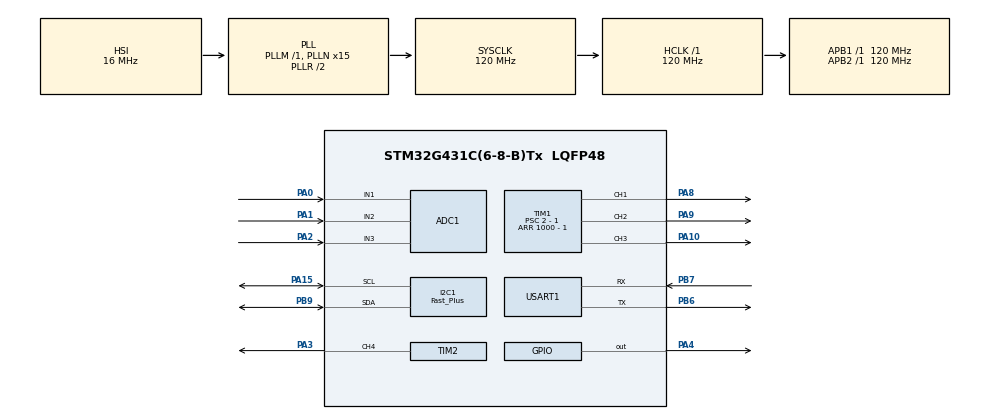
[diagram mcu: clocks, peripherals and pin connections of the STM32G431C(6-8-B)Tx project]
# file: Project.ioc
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ADC1.Channel-0\#ChannelRegularConversion=ADC_CHANNEL_1
ADC1.Channel-1\#ChannelRegularConversion=ADC_CHANNEL_2
ADC1.Channel-2\#ChannelRegularConversion=ADC_CHANNEL_3
ADC1.ClockPrescaler=ADC_CLOCK_SYNC_PCLK_DIV2
ADC1.DMAContinuousRequests=ENABLE
ADC1.EOCSelection=ADC_EOC_SINGLE_CONV
ADC1.ExternalTrigConv=ADC_EXTERNALTRIG_T1_TRGO
ADC1.NbrOfConversion=3
ADC1.NbrOfConversionFlag=1
ADC1.OffsetNumber-0\#ChannelRegularConversion=ADC_OFFSET_NONE
ADC1.OffsetNumber-1\#ChannelRegularConversion=ADC_OFFSET_NONE
ADC1.OffsetNumber-2\#ChannelRegularConversion=ADC_OFFSET_NONE
ADC1.Rank-0\#ChannelRegularConversion=1
ADC1.Rank-1\#ChannelRegularConversion=2
ADC1.Rank-2\#ChannelRegularConversion=3
ADC1.SamplingTime-0\#ChannelRegularConversion=ADC_SAMPLETIME_2CYCLES_5
ADC1.SamplingTime-1\#ChannelRegularConversion=ADC_SAMPLETIME_2CYCLES_5
ADC1.SamplingTime-2\#ChannelRegularConversion=ADC_SAMPLETIME_2CYCLES_5
ADC1.master=1
Dma.ADC1.1.Direction=DMA_PERIPH_TO_MEMORY
Dma.ADC1.1.EventEnable=DISABLE
Dma.ADC1.1.Instance=DMA1_Channel2
Dma.ADC1.1.MemDataAlignment=DMA_MDATAALIGN_WORD
Dma.ADC1.1.MemInc=DMA_MINC_ENABLE
Dma.ADC1.1.Mode=DMA_CIRCULAR
Dma.ADC1.1.PeriphDataAlignment=DMA_PDATAALIGN_WORD
Dma.ADC1.1.PeriphInc=DMA_PINC_DISABLE
Dma.ADC1.1.Polarity=HAL_DMAMUX_REQ_GEN_RISING
Dma.ADC1.1.Priority=DMA_PRIORITY_HIGH
Dma.ADC1.1.RequestNumber=1
Dma.ADC1.1.SignalID=NONE
Dma.ADC1.1.SyncEnable=DISABLE
Dma.ADC1.1.SyncPolarity=HAL_DMAMUX_SYNC_NO_EVENT
Dma.ADC1.1.SyncRequestNumber=1
Dma.ADC1.1.SyncSignalID=NONE
Dma.Request0=USART1_RX
Dma.Request1=ADC1
Dma.USART1_RX.0.Direction=DMA_PERIPH_TO_MEMORY
Dma.USART1_RX.0.EventEnable=DISABLE
Dma.USART1_RX.0.Instance=DMA1_Channel1
Dma.USART1_RX.0.MemDataAlignment=DMA_MDATAALIGN_BYTE
Dma.USART1_RX.0.MemInc=DMA_MINC_ENABLE
Dma.USART1_RX.0.Mode=DMA_CIRCULAR
Dma.USART1_RX.0.PeriphDataAlignment=DMA_PDATAALIGN_BYTE
Dma.USART1_RX.0.PeriphInc=DMA_PINC_DISABLE
Dma.USART1_RX.0.Polarity=HAL_DMAMUX_REQ_GEN_RISING
Dma.USART1_RX.0.Priority=DMA_PRIORITY_MEDIUM
Dma.USART1_RX.0.RequestNumber=1
Dma.USART1_RX.0.SignalID=NONE
Dma.USART1_RX.0.SyncEnable=DISABLE
Dma.USART1_RX.0.SyncPolarity=HAL_DMAMUX_SYNC_NO_EVENT
Dma.USART1_RX.0.SyncRequestNumber=1
Dma.USART1_RX.0.SyncSignalID=NONE
I2C1.I2C_Speed_Mode=I2C_Fast_Plus
I2C1.Timing=0x10820B1B
Mcu.Family=STM32G4
Mcu.Name=STM32G431C(6-8-B)Tx
Mcu.Package=LQFP48
NVIC.DMA1_Channel1_IRQn=true\:0\:0\:false\:false\:true\:false\:true\:true
NVIC.DMA1_Channel2_IRQn=true\:0\:0\:false\:false\:true\:false\:true\:true
NVIC.PriorityGroup=NVIC_PRIORITYGROUP_4
NVIC.USART1_IRQn=true\:0\:0\:false\:false\:true\:true\:true\:true
PA0.Mode=IN1-Single-Ended
PA0.Signal=ADC1_IN1
PA1.Mode=IN2-Single-Ended
PA1.Signal=ADC1_IN2
PA10.Signal=S_TIM1_CH3
PA13.Mode=Serial_Wire
PA13.Signal=SYS_JTMS-SWDIO
PA14.Mode=Serial_Wire
PA14.Signal=SYS_JTCK-SWCLK
PA15.Mode=I2C
PA15.Signal=I2C1_SCL
PA2.Mode=IN3-Single-Ended
PA2.Signal=ADC1_IN3
PA3.Signal=S_TIM2_CH4
PA4.Signal=GPIO_Output
PA8.Signal=S_TIM1_CH1
PA9.Signal=S_TIM1_CH2
PB6.Mode=Asynchronous
PB6.Signal=USART1_TX
PB7.Mode=Asynchronous
PB7.Signal=USART1_RX
PB9.Mode=I2C
PB9.Signal=I2C1_SDA
ProjectManager.HeapSize=0x200
ProjectManager.StackSize=0x400
ProjectManager.TargetToolchain=MDK-ARM V5.32
RCC.ADC12Freq_Value=120000000
RCC.AHBFreq_Value=120000000
RCC.APB1Freq_Value=120000000
RCC.APB1TimFreq_Value=120000000
RCC.APB2Freq_Value=120000000
RCC.APB2TimFreq_Value=120000000
RCC.CortexFreq_Value=120000000
RCC.EXTERNAL_CLOCK_VALUE=12288000
RCC.HCLKFreq_Value=120000000
RCC.HSE_VALUE=8000000
RCC.HSI48_VALUE=48000000
RCC.HSI_VALUE=16000000
RCC.LSE_VALUE=32768
RCC.PLLN=15
RCC.SYSCLKFreq_VALUE=120000000
RCC.SYSCLKSource=RCC_SYSCLKSOURCE_PLLCLK
RCC.USBFreq_Value=120000000
RCC.VCOOutputFreq_Value=240000000
SH.S_TIM1_CH1.0=TIM1_CH1,PWM Generation1 CH1
SH.S_TIM1_CH2.0=TIM1_CH2,PWM Generation2 CH2
SH.S_TIM1_CH3.0=TIM1_CH3,PWM Generation3 CH3
SH.S_TIM2_CH4.0=TIM2_CH4,PWM Generation4 CH4
TIM1.Channel-PWM\ Generation1\ CH1=TIM_CHANNEL_1
TIM1.Channel-PWM\ Generation2\ CH2=TIM_CHANNEL_2
TIM1.Channel-PWM\ Generation3\ CH3=TIM_CHANNEL_3
TIM1.CounterMode=TIM_COUNTERMODE_CENTERALIGNED1
TIM1.PeriodNoDither=1000 - 1
TIM1.Prescaler=2 - 1
TIM1.TIM_MasterOutputTrigger=TIM_TRGO_UPDATE
TIM1.TIM_MasterSlaveMode=TIM_MASTERSLAVEMODE_DISABLE
TIM2.Channel-PWM\ Generation4\ CH4=TIM_CHANNEL_4
TIM2.PeriodNoDither=1000 - 1
TIM2.Prescaler=120 - 1
USART1.VirtualMode-Asynchronous=VM_ASYNC
VP_SYS_VS_DBSignals.Mode=DisableDeadBatterySignals
VP_TIM1_VS_ClockSourceINT.Mode=Internal
VP_TIM2_VS_ClockSourceINT.Mode=Internal
board=custom

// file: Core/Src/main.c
/* USER CODE BEGIN Header */
/**
  ******************************************************************************
  * @file           : main.c
  * @brief          : Main program body
  电流采样与转换
  ******************************************************************************
  * @attention
  *
  * Copyright (c) 2026 STMicroelectronics.
  * All rights reserved.
  *
  * This software is licensed under terms that can be found in the LICENSE file
  * in the root directory of this software component.
  * If no LICENSE file comes with this software, it is provided AS-IS.
  *
  ******************************************************************************
  */
/* USER CODE END Header */
#include "main.h"
#include "adc.h"
#include "dma.h"
#include "i2c.h"
#include "tim.h"
#include "usart.h"
#include "gpio.h"

/* USER CODE BEGIN Includes */
#include <math.h>
#include "Driver.h"
#include "Encoder.h"
#include "Serial.h"
#include "PID.h"
#include "Beep.h"
#include "CurrentMeasure.h"

/* USER CODE END Includes */

void SystemClock_Config(void);

/* USER CODE BEGIN 0 */
float *rightangledCurrent, *phaseCurrent;
uint16_t Id[100] = {0}, Iq[100] = {0}, Ud[100] = {0}, Uq[100] = {0};
uint8_t ptr_val = 0;
float I_d_actual, I_q_actual;
PID pid_I_d, pid_I_q;  // 电流环
float Kp = 6.0f, Ki = 0.0f, Kd = 0.0f, maxI = 6.0f, maxOut = 6.0f;

uint8_t led_state = 0;
// 电流从0.5A映射到电压的12V，所以Kp应该在24左右

/* USER CODE END 0 */

int main(void)
{

  /* MCU Configuration--------------------------------------------------------*/

  /* Reset of all peripherals, Initializes the Flash interface and the Systick. */
  HAL_Init();

  /* Configure the system clock */
  SystemClock_Config();

  /* Initialize all configured peripherals */
  MX_GPIO_Init();
  MX_DMA_Init();
  MX_TIM1_Init();
  MX_I2C1_Init();
  MX_USART1_UART_Init();
  MX_TIM2_Init();
  MX_ADC1_Init();
  /* USER CODE BEGIN 2 */
  Serial_Init();   // 初始化串口
  Driver_Init();
  Encoder_Init();  // 对轴操作
  CurrentMeasure_Init();

  PID_Init(&pid_I_d, Kp, Ki, Kd, maxI, maxOut);
  PID_Init(&pid_I_q, Kp, Ki, Kd, maxI, maxOut);
  /* USER CODE END 2 */

  /* Infinite loop */
  /* USER CODE BEGIN WHILE */
  while (1)
  {
	// 上位机发送dq指令
	static float data;
	static char type;
	static float I_d_desire = 0, I_q_desire = 0;
	VOFA_GetData(&data, &type);
	if (type == 'd') {
		I_d_desire = data;
	}
	else if (type == 'q') {
		I_q_desire = data;
	}

	// 获得dq轴电流
	rightangledCurrent = CurrentMeasure_GetRightangledCurrent();
	I_d_actual = rightangledCurrent[0];
	I_q_actual = rightangledCurrent[1];
	// 获得abc三相电流
//	phaseCurrent = CurrentMeasure_GetPhaseCurrent();

	// 电流环
	PID_inc_Calc(&pid_I_d, I_d_desire, rightangledCurrent[0]);
	PID_inc_Calc(&pid_I_q, I_q_desire, rightangledCurrent[1]);
	float e_angle = Encoder_GetAngleNoTrack() * 7;
	Driver_SetRightangledVoltage(pid_I_d.output, pid_I_q.output, e_angle);

//	// 测试开始
//	HAL_GPIO_WritePin(GPIOA, GPIO_PIN_4, led_state);
//	led_state = !led_state;
//	// 测试结束

//	// 串口发送四个电流（把这句注释好像可以达到意想不到的效果）
//	VOFA_SendData(I_d_desire, rightangledCurrent[0], I_q_desire, rightangledCurrent[1]);
////	VOFA_SendData(phaseCurrent[0], phaseCurrent[1], phaseCurrent[2], 0.0f);

    /* USER CODE END WHILE */

  }
}

void SystemClock_Config(void)
{
  RCC_OscInitTypeDef RCC_OscInitStruct = {0};
  RCC_ClkInitTypeDef RCC_ClkInitStruct = {0};

  /** Configure the main internal regulator output voltage
  */
  HAL_PWREx_ControlVoltageScaling(PWR_REGULATOR_VOLTAGE_SCALE1);

  /** Initializes the RCC Oscillators according to the specified parameters
  * in the RCC_OscInitTypeDef structure.
  */
  RCC_OscInitStruct.OscillatorType = RCC_OSCILLATORTYPE_HSI;
  RCC_OscInitStruct.HSIState = RCC_HSI_ON;
  RCC_OscInitStruct.HSICalibrationValue = RCC_HSICALIBRATION_DEFAULT;
  RCC_OscInitStruct.PLL.PLLState = RCC_PLL_ON;
  RCC_OscInitStruct.PLL.PLLSource = RCC_PLLSOURCE_HSI;
  RCC_OscInitStruct.PLL.PLLM = RCC_PLLM_DIV1;
  RCC_OscInitStruct.PLL.PLLN = 15;
  RCC_OscInitStruct.PLL.PLLP = RCC_PLLP_DIV2;
  RCC_OscInitStruct.PLL.PLLQ = RCC_PLLQ_DIV2;
  RCC_OscInitStruct.PLL.PLLR = RCC_PLLR_DIV2;
  if (HAL_RCC_OscConfig(&RCC_OscInitStruct) != HAL_OK)
  {
    Error_Handler();
  }

  /** Initializes the CPU, AHB and APB buses clocks
  */
  RCC_ClkInitStruct.ClockType = RCC_CLOCKTYPE_HCLK|RCC_CLOCKTYPE_SYSCLK
                              |RCC_CLOCKTYPE_PCLK1|RCC_CLOCKTYPE_PCLK2;
  RCC_ClkInitStruct.SYSCLKSource = RCC_SYSCLKSOURCE_PLLCLK;
  RCC_ClkInitStruct.AHBCLKDivider = RCC_SYSCLK_DIV1;
  RCC_ClkInitStruct.APB1CLKDivider = RCC_HCLK_DIV1;
  RCC_ClkInitStruct.APB2CLKDivider = RCC_HCLK_DIV1;

  if (HAL_RCC_ClockConfig(&RCC_ClkInitStruct, FLASH_LATENCY_3) != HAL_OK)
  {
    Error_Handler();
  }
}

void Error_Handler(void)
{
  __disable_irq();
  while (1)
  {
  }
}
